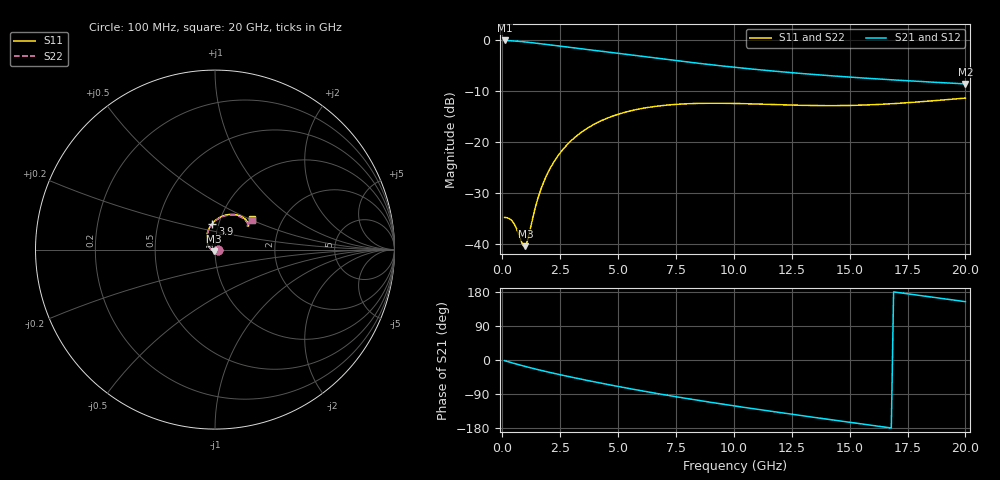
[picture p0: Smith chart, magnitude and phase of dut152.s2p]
! Touchstone file exported from HFSS 2024.1.0
!  File:  C:/UserFiles/LocalFiles/RDL_TSV_Batchsim/temp_RDL_TSV_152_1779432116.aedt
!  Generated:  02:54:04 PM May 22, 2026
!  Design:  RDL_TSV
!  Project:  temp_RDL_TSV_152_1779432116
!  Setup:  Setup1
!  Solution:  Sweep
! Variables:
!  dtsv = 14.87um
!  hbump = 3um
!  htsv = 50.55um
!  ldown = 264.17um
!  lrdl = 594.75um
!  p = 40
!  p1 = 45.5um
!  rhole = 10um
!  subl = 3171.51um
!  t = 450um
!  tdown = 3.98um
!  trdl = 2.13um
!  viad = 10um
!  wdown = 20.41um
!  wrdl = 27.18um
!  xbump = 18um
# GHz S MA R 50.000000
! Terminal data exported
! Port[1] = TM1_1_T1
! Port[2] = TM1_4_T1
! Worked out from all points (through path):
!   200 points, 100 MHz to 20 GHz, reference 50 ohm
!   highest |S21| = -0.17 dB at 100 MHz (marker M1); lowest = -8.7 dB at 20 GHz (marker M2)
!   group delay of S21, straight-line fit = 27.2 ps
!   lowest |S11| = -40.4 dB at 1 GHz (marker M3), VSWR 1.02, Z = 49.6 - j0.869 ohm
!   |S11| at or under -10 dB: start of sweep to end of sweep
!   |S22| runs from -40.4 to -11.6 dB; largest |S21 - S12| = 9.6e-15
!   S11 on the Smith chart (normalised r, x): 100 MHz: 1.04, -0.00; 3.9 GHz: 0.93, +0.28; 20 GHz: 1.42, +0.51
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0.1  0.01832 -3.4  0.981 -1.8  0.981 -1.8  0.01832 -3.4
! Gamma 0 0 0 0
! Port Impedance 50 0 50 0
0.3  0.01785 -12.5  0.9767 -5.4  0.9767 -5.4  0.01787 -12.5
0.5  0.01601 -26.5  0.9701 -8.9  0.9701 -8.9  0.01606 -26.5
0.9  0.009692 -87.1  0.9528 -15.5  0.9528 -15.5  0.009757 -86.3
1  0.009596 -114.1  0.9478 -17.2  0.9478 -17.2  0.009596 -113.0
1.1  0.01107 -139.8  0.9426 -18.7  0.9426 -18.7  0.01098 -138.7
1.3  0.01754 -173.6  0.9317 -21.8  0.9317 -21.8  0.01728 -173.0
1.5  0.02632 167.8  0.9204 -24.9  0.9204 -24.9  0.02592 168.1
1.7  0.03611 155.5  0.9089 -27.8  0.9089 -27.8  0.0356 155.6
2  0.0517 142.1  0.8915 -32.1  0.8915 -32.1  0.05099 142.2
2.3  0.06768 131.9  0.8743 -36.2  0.8743 -36.2  0.06678 131.8
2.7  0.08884 120.7  0.852 -41.5  0.852 -41.5  0.08766 120.6
3.5  0.1284 103.2  0.8094 -51.8  0.8094 -51.8  0.1267 103.1
3.9  0.1461 96.0  0.7888 -56.7  0.7888 -56.7  0.1442 95.8
5.2  0.1922 76.9  0.7249 -72.1  0.7249 -72.1  0.1895 76.7
6.8  0.2253 59.8  0.6526 -89.7  0.6526 -89.7  0.2219 59.6
8.4  0.238 48.0  0.5897 -105.8  0.5897 -105.8  0.2341 47.7
10.1  0.2377 39.9  0.5346 -121.8  0.5346 -121.8  0.2336 39.7
11.7  0.2321 36.0  0.4929 -136.1  0.4929 -136.1  0.2279 35.8
13.4  0.2271 35.0  0.4574 -150.8  0.4574 -150.8  0.2229 34.8
16.7  0.2354 37.8  0.4063 -178.6  0.4063 -178.6  0.2314 37.7
20  0.2683 38.9  0.3693 153.9  0.3693 153.9  0.2642 38.7
